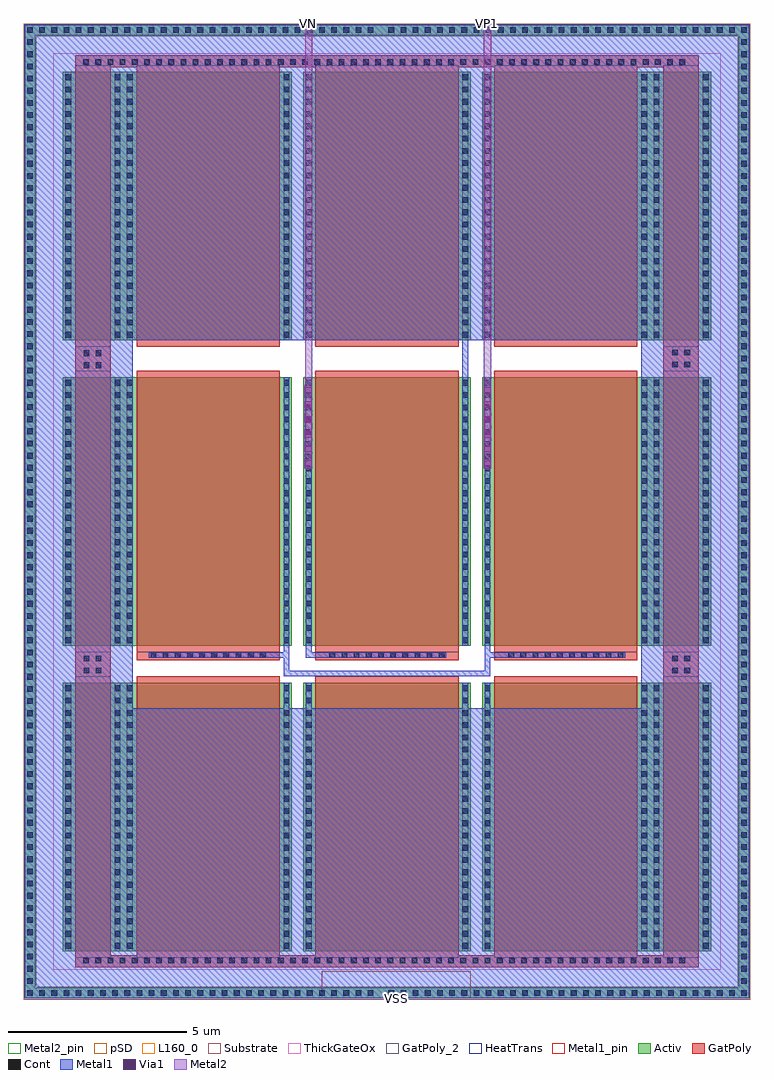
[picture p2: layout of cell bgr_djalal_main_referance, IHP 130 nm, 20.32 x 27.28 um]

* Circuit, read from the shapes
.subckt bgr_djalal_main_referance VN VP1 VSS
XM1 VSS VSS VSS VSS sg13_hv_nmos w=7.5u l=1u m=6
XM2 VSS VSS VSS VSS sg13_hv_nmos w=7.5u l=4u m=6
XM3 VP1 VP1 VSS VSS sg13_hv_nmos w=7.5u l=4u m=2
XM4 VSS VN VN VSS sg13_hv_nmos w=7.5u l=4u
.ends

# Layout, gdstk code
from math import pi, radians
import gdstk
lib = gdstk.Library(unit=1e-6, precision=1e-09)
def R(c, l, rs):  # rectangles x0, y0, x1, y1
    for r in rs: c.add(gdstk.rectangle(r[:2], r[2:], *l))
def A(c, l, x, y, w, h, nx, ny, dx, dy):  # array of equal rectangles
    R(c, l, [(x+i*dx, y+j*dy, x+i*dx+w, y+j*dy+h) for i in range(nx) for j in range(ny)])
def P(c, l, *ps):  # polygons
    for p in ps: c.add(gdstk.Polygon(p, *l))
Activ = (1, 0)
GatPoly = (5, 0)
GatPoly_2 = (5, 2)
Cont = (6, 0)
Metal1 = (8, 0)
Metal1_pin = (8, 2)
Metal2 = (10, 0)
Metal2_pin = (10, 2)
pSD = (14, 0)
Via1 = (19, 0)
Substrate = (40, 0)
ThickGateOx = (44, 0)
HeatTrans = (51, 0)
L160_0 = (160, 0)

nmoshv_8 = lib.new_cell('nmosHV$8')
R(nmoshv_8, Activ, [(0,0,0.3,0.3), (0,0,4.68,7.5), (4.38,0,4.68,0.3)])
R(nmoshv_8, GatPoly, [(0.34,-0.18,4.34,7.68)])
R(nmoshv_8, GatPoly_2, [(0.34,-0.18,4.34,7.68)])
A(nmoshv_8, Cont, 0.07, 1.78, 0.16, 0.16, 1, 3, 0, 0.345)
A(nmoshv_8, Cont, 4.45, 1.78, 0.16, 0.16, 1, 3, 0, 0.345)
A(nmoshv_8, Cont, 0.07, 4.18, 0.16, 0.16, 1, 3, 0, 0.345)
A(nmoshv_8, Cont, 4.45, 4.18, 0.16, 0.16, 1, 3, 0, 0.345)
A(nmoshv_8, Cont, 0.07, 6.58, 0.16, 0.16, 1, 3, 0, 0.345)
A(nmoshv_8, Cont, 4.45, 6.58, 0.16, 0.16, 1, 3, 0, 0.345)
R(nmoshv_8, Cont, [(0.07,0.07,0.23,0.23), (4.45,0.07,4.61,0.23), (0.07,0.41,0.23,0.57), (4.45,0.41,4.61,0.57), (0.07,0.755,0.23,0.915), (4.45,0.755,4.61,0.915), (0.07,1.095,0.23,1.255), (4.45,1.095,4.61,1.255), (0.07,1.44,0.23,1.6), (4.45,1.44,4.61,1.6), (0.07,2.81,0.23,2.97), (4.45,2.81,4.61,2.97), (0.07,3.155,0.23,3.315), (4.45,3.155,4.61,3.315), (0.07,3.495,0.23,3.655), (4.45,3.495,4.61,3.655), (0.07,3.84,0.23,4), (4.45,3.84,4.61,4), (0.07,5.21,0.23,5.37), (4.45,5.21,4.61,5.37), (0.07,5.555,0.23,5.715), (4.45,5.555,4.61,5.715), (0.07,5.895,0.23,6.055), (4.45,5.895,4.61,6.055), (0.07,6.24,0.23,6.4), (4.45,6.24,4.61,6.4)])
R(nmoshv_8, Metal1, [(0.07,0,0.23,7.5), (4.45,0,4.61,7.5)])
R(nmoshv_8, Metal1_pin, [(0.07,0,0.23,7.5), (4.45,0,4.61,7.5)])
R(nmoshv_8, ThickGateOx, [(-0.27,-0.52,4.95,8.02)])
R(nmoshv_8, HeatTrans, [(0.34,-0.18,4.34,7.68)])
nmoshv_8.add(gdstk.Label('nmosHV', (2.34,3.75), layer=63, texttype=0))
nmoshv_8.add(gdstk.Label('nmosHV', (2.34,3.75), layer=51, texttype=0))

nmoshv_12 = lib.new_cell('nmosHV$12')
R(nmoshv_12, Activ, [(0,0,0.3,0.3), (0,0,1.68,7.5), (1.38,0,1.68,0.3)])
R(nmoshv_12, GatPoly, [(0.34,-0.18,1.34,7.68)])
R(nmoshv_12, GatPoly_2, [(0.34,-0.18,1.34,7.68)])
A(nmoshv_12, Cont, 0.07, 1.78, 0.16, 0.16, 1, 3, 0, 0.345)
A(nmoshv_12, Cont, 1.45, 1.78, 0.16, 0.16, 1, 3, 0, 0.345)
A(nmoshv_12, Cont, 0.07, 4.18, 0.16, 0.16, 1, 3, 0, 0.345)
A(nmoshv_12, Cont, 1.45, 4.18, 0.16, 0.16, 1, 3, 0, 0.345)
A(nmoshv_12, Cont, 0.07, 6.58, 0.16, 0.16, 1, 3, 0, 0.345)
A(nmoshv_12, Cont, 1.45, 6.58, 0.16, 0.16, 1, 3, 0, 0.345)
R(nmoshv_12, Cont, [(0.07,0.07,0.23,0.23), (1.45,0.07,1.61,0.23), (0.07,0.41,0.23,0.57), (1.45,0.41,1.61,0.57), (0.07,0.755,0.23,0.915), (1.45,0.755,1.61,0.915), (0.07,1.095,0.23,1.255), (1.45,1.095,1.61,1.255), (0.07,1.44,0.23,1.6), (1.45,1.44,1.61,1.6), (0.07,2.81,0.23,2.97), (1.45,2.81,1.61,2.97), (0.07,3.155,0.23,3.315), (1.45,3.155,1.61,3.315), (0.07,3.495,0.23,3.655), (1.45,3.495,1.61,3.655), (0.07,3.84,0.23,4), (1.45,3.84,1.61,4), (0.07,5.21,0.23,5.37), (1.45,5.21,1.61,5.37), (0.07,5.555,0.23,5.715), (1.45,5.555,1.61,5.715), (0.07,5.895,0.23,6.055), (1.45,5.895,1.61,6.055), (0.07,6.24,0.23,6.4), (1.45,6.24,1.61,6.4)])
R(nmoshv_12, Metal1, [(0.07,0,0.23,7.5), (1.45,0,1.61,7.5)])
R(nmoshv_12, Metal1_pin, [(0.07,0,0.23,7.5), (1.45,0,1.61,7.5)])
R(nmoshv_12, ThickGateOx, [(-0.27,-0.52,1.95,8.02)])
R(nmoshv_12, HeatTrans, [(0.34,-0.18,1.34,7.68)])
nmoshv_12.add(gdstk.Label('nmosHV', (0.84,3.75), layer=63, texttype=0))
nmoshv_12.add(gdstk.Label('nmosHV', (0.84,3.75), layer=51, texttype=0))

nmoshv_10 = lib.new_cell('nmosHV$10')
R(nmoshv_10, Activ, [(0,0,0.3,0.3), (0,0,1.68,7.5), (1.38,0,1.68,0.3)])
R(nmoshv_10, GatPoly, [(0.34,-0.18,1.34,7.68)])
R(nmoshv_10, GatPoly_2, [(0.34,-0.18,1.34,7.68)])
A(nmoshv_10, Cont, 0.07, 1.78, 0.16, 0.16, 1, 3, 0, 0.345)
A(nmoshv_10, Cont, 1.45, 1.78, 0.16, 0.16, 1, 3, 0, 0.345)
A(nmoshv_10, Cont, 0.07, 4.18, 0.16, 0.16, 1, 3, 0, 0.345)
A(nmoshv_10, Cont, 1.45, 4.18, 0.16, 0.16, 1, 3, 0, 0.345)
A(nmoshv_10, Cont, 0.07, 6.58, 0.16, 0.16, 1, 3, 0, 0.345)
A(nmoshv_10, Cont, 1.45, 6.58, 0.16, 0.16, 1, 3, 0, 0.345)
R(nmoshv_10, Cont, [(0.07,0.07,0.23,0.23), (1.45,0.07,1.61,0.23), (0.07,0.41,0.23,0.57), (1.45,0.41,1.61,0.57), (0.07,0.755,0.23,0.915), (1.45,0.755,1.61,0.915), (0.07,1.095,0.23,1.255), (1.45,1.095,1.61,1.255), (0.07,1.44,0.23,1.6), (1.45,1.44,1.61,1.6), (0.07,2.81,0.23,2.97), (1.45,2.81,1.61,2.97), (0.07,3.155,0.23,3.315), (1.45,3.155,1.61,3.315), (0.07,3.495,0.23,3.655), (1.45,3.495,1.61,3.655), (0.07,3.84,0.23,4), (1.45,3.84,1.61,4), (0.07,5.21,0.23,5.37), (1.45,5.21,1.61,5.37), (0.07,5.555,0.23,5.715), (1.45,5.555,1.61,5.715), (0.07,5.895,0.23,6.055), (1.45,5.895,1.61,6.055), (0.07,6.24,0.23,6.4), (1.45,6.24,1.61,6.4)])
R(nmoshv_10, Metal1, [(0.07,0,0.23,7.5), (1.45,0,1.61,7.5)])
R(nmoshv_10, Metal1_pin, [(0.07,0,0.23,7.5), (1.45,0,1.61,7.5)])
R(nmoshv_10, ThickGateOx, [(-0.27,-0.52,1.95,8.02)])
R(nmoshv_10, HeatTrans, [(0.34,-0.18,1.34,7.68)])
nmoshv_10.add(gdstk.Label('nmosHV', (0.84,3.75), layer=63, texttype=0))
nmoshv_10.add(gdstk.Label('nmosHV', (0.84,3.75), layer=51, texttype=0))

guard_ring_19 = lib.new_cell('guard_ring$19')
R(guard_ring_19, Activ, [(-10.13,-13.31,-9.83,13.31), (9.83,-13.31,10.13,13.31), (-10.13,13.31,10.13,13.61)])
P(guard_ring_19, Activ, [(-10.13,-13.61),(-10.13,13.31),(-9.83,13.31),(-9.83,-13.31),(9.83,-13.31),(9.83,13.31),(-10.13,13.31),(-10.13,13.61),(10.13,13.61),(10.13,-13.61)])
A(guard_ring_19, Cont, -10.06, -13.54, 0.16, 0.16, 29, 2, 0.34, 26.92)
A(guard_ring_19, Cont, 0.04, -13.54, 0.16, 0.16, 30, 2, 0.34, 26.92)
A(guard_ring_19, Cont, -10.06, -13.2, 0.16, 0.16, 1, 39, 0, 0.34)
A(guard_ring_19, Cont, 9.9, -13.2, 0.16, 0.16, 1, 39, 0, 0.34)
A(guard_ring_19, Cont, -10.06, 0.12, 0.16, 0.16, 1, 39, 0, 0.34)
A(guard_ring_19, Cont, 9.9, 0.12, 0.16, 0.16, 1, 39, 0, 0.34)
R(guard_ring_19, Metal1, [(-10.13,-13.61,10.13,-13.31), (-10.13,-13.31,-9.83,13.31), (9.83,-13.31,10.13,13.31), (-10.13,13.31,10.13,13.61)])
R(guard_ring_19, pSD, [(-10.16,-13.28,-9.8,13.28), (9.8,-13.28,10.16,13.28), (-10.16,13.28,10.16,13.64)])
P(guard_ring_19, pSD, [(-10.16,-13.64),(-10.16,13.28),(-9.8,13.28),(-9.8,-13.28),(9.8,-13.28),(9.8,13.28),(-10.16,13.28),(-10.16,13.64),(10.16,13.64),(10.16,-13.64)])
R(guard_ring_19, Substrate, [(-10.16,-13.28,-9.8,13.28), (9.8,-13.28,10.16,13.28), (-10.16,13.28,10.16,13.64)])
P(guard_ring_19, Substrate, [(-10.16,-13.64),(-10.16,13.28),(-9.8,13.28),(-9.8,-13.28),(9.8,-13.28),(9.8,13.28),(-10.16,13.28),(-10.16,13.64),(10.16,13.64),(10.16,-13.64)])
guard_ring_19.add(gdstk.Label('sub!', (0,-13.46), layer=63, texttype=0))

via_stack_46 = lib.new_cell('via_stack$46')
R(via_stack_46, GatPoly, [(-1.68,-0.15,1.68,0.15)])
A(via_stack_46, Cont, -1.61, -0.08, 0.16, 0.16, 10, 1, 0.34, 0)
R(via_stack_46, Metal1, [(-1.66,-0.08,1.66,0.08)])

via_stack_41 = lib.new_cell('via_stack$41')
R(via_stack_41, Metal1, [(-0.105,-1.17,0.105,1.17)])
R(via_stack_41, Metal2, [(-0.1,-1.17,0.1,1.17)])
A(via_stack_41, Via1, -0.095, -1.12, 0.19, 0.19, 1, 6, 0, 0.41)

via_stack_50 = lib.new_cell('via_stack$50')
R(via_stack_50, GatPoly, [(-8.48,-0.15,8.48,0.15)])
A(via_stack_50, Cont, -8.41, -0.08, 0.16, 0.16, 50, 1, 0.34, 0)
R(via_stack_50, Metal1, [(-8.46,-0.08,8.46,0.08)])

via_stack_42 = lib.new_cell('via_stack$42')
R(via_stack_42, GatPoly, [(-0.32,-0.32,0.32,0.32)])
R(via_stack_42, Cont, [(-0.25,-0.25,-0.09,-0.09), (0.09,-0.25,0.25,-0.09), (-0.25,0.09,-0.09,0.25), (0.09,0.09,0.25,0.25)])
R(via_stack_42, Metal1, [(-0.3,-0.25,0.3,0.25)])

bgr_djalal_main_referanc = lib.new_cell('bgr_djalal_main_referance')
A(bgr_djalal_main_referanc, Activ, -7.42, -12.29, 0.11, 7.5, 1, 3, 0, 8.54)
A(bgr_djalal_main_referanc, Activ, 7.34, -12.29, 0.11, 7.5, 1, 3, 0, 8.54)
A(bgr_djalal_main_referanc, GatPoly, -7, -4.16, 4, 0.23, 3, 1, 5, 0)
R(bgr_djalal_main_referanc, GatPoly, [(-8.72,-12.735,8.72,-12.455), (7.72,-4.745,8.72,4.7), (-8.72,-4.72,-7.72,5.76), (-8.72,12.47,8.72,12.75)])
R(bgr_djalal_main_referanc, Metal1, [(-10.13,-13.61,10.13,-5.5), (-10.13,-5.505,-7.11,5.015), (7.11,-5.505,10.13,5.015), (-2.89,-4.61,2.89,-4.45), (-2.89,-4.61,-2.73,-3.465), (2.73,-4.61,2.89,-3.52), (-3.595,-4.09,-2.73,-3.93), (-2.27,-4.09,-2.11,-3.6), (-2.27,-4.09,-1.335,-3.93), (2.73,-4.09,3.47,-3.93), (2.11,3.335,2.27,5.425), (-10.13,4.79,10.13,13.61)])
R(bgr_djalal_main_referanc, Metal1_pin, [(-1.83,-13.61,2.34,-12.85)])
R(bgr_djalal_main_referanc, Metal2, [(-2.29,3.26,-2.09,13.64), (2.71,3.26,2.91,13.64)])
R(bgr_djalal_main_referanc, Metal2_pin, [(2.71,13.31,2.91,13.64), (-2.29,13.335,-2.09,13.64)])
R(bgr_djalal_main_referanc, L160_0, [(-10.13,-13.61,10.13,13.61)])
r = gdstk.Reference(nmoshv_8, (-7.34,-12.29)); r.repetition = gdstk.Repetition(3, 3, v1=(5,0), v2=(0,8.54)); bgr_djalal_main_referanc.add(r)
r = gdstk.Reference(nmoshv_12, (7.38,-12.29)); r.repetition = gdstk.Repetition(1, 3, v1=(0,0), v2=(0,8.54)); bgr_djalal_main_referanc.add(r)
r = gdstk.Reference(nmoshv_10, (-7.38,-12.29), rotation=pi, x_reflection=True); r.repetition = gdstk.Repetition(1, 3, v1=(0,0), v2=(0,8.54)); bgr_djalal_main_referanc.add(r)
bgr_djalal_main_referanc.add(gdstk.Reference(guard_ring_19, (0,0)))
bgr_djalal_main_referanc.add(gdstk.Reference(via_stack_46, (0,-4.01)))
bgr_djalal_main_referanc.add(gdstk.Reference(via_stack_46, (5,-4.01)))
bgr_djalal_main_referanc.add(gdstk.Reference(via_stack_46, (-5,-4.01)))
bgr_djalal_main_referanc.add(gdstk.Reference(via_stack_41, (-2.19,2.365)))
bgr_djalal_main_referanc.add(gdstk.Reference(via_stack_41, (2.81,2.365)))
bgr_djalal_main_referanc.add(gdstk.Reference(via_stack_50, (-0.08,12.565)))
bgr_djalal_main_referanc.add(gdstk.Reference(via_stack_50, (-0.08,-12.55), x_reflection=True))
bgr_djalal_main_referanc.add(gdstk.Reference(via_stack_42, (-8.23,4.255)))
bgr_djalal_main_referanc.add(gdstk.Reference(via_stack_42, (-8.23,-4.275)))
bgr_djalal_main_referanc.add(gdstk.Reference(via_stack_42, (8.22,-4.275)))
bgr_djalal_main_referanc.add(gdstk.Reference(via_stack_42, (8.22,4.275)))
bgr_djalal_main_referanc.add(gdstk.Label('VSS', (0.255,-13.61), layer=8, texttype=2))
bgr_djalal_main_referanc.add(gdstk.Label('VN', (-2.19,13.64), layer=10, texttype=2))
bgr_djalal_main_referanc.add(gdstk.Label('VP1', (2.81,13.64), layer=10, texttype=2))

lib.write_gds('bgr_djalal_main_referance.gds')
